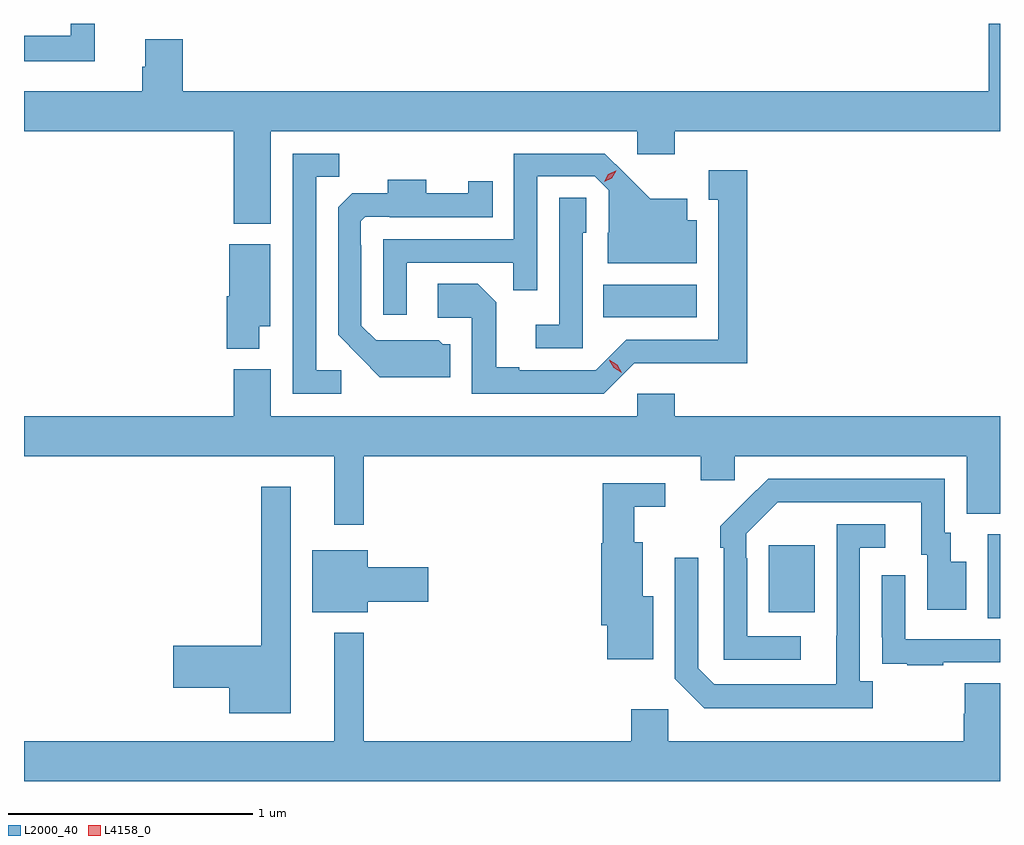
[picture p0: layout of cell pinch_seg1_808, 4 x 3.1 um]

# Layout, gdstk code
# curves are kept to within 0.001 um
import gdstk
lib = gdstk.Library(unit=1e-6, precision=1e-09)
def R(c, l, rs):  # rectangles x0, y0, x1, y1
    for r in rs: c.add(gdstk.rectangle(r[:2], r[2:], *l))
def P(c, l, *ps):  # polygons
    for p in ps: c.add(gdstk.Polygon(p, *l))
L2000_40 = (2000, 40)
L4158_0 = (4158, 0)

pinch_seg1_808 = lib.new_cell('pinch_seg1_808')
R(pinch_seg1_808, L2000_40, [(464.174,563.056,464.224,563.4), (463.277,563.081,463.465,563.356), (462.598,564.29,462.982,564.424)])
P(pinch_seg1_808, L2000_40, [(460.514,565.493),(460.416,565.493),(460.416,565.444),(460.224,565.444),(460.224,565.34),(460.514,565.34)],
  [(461.236,565.052),(462.738,565.052),(462.738,564.957),(462.89,564.957),(462.89,565.052),(464.224,565.052),(464.224,565.493),(464.177,565.493),(464.177,565.216),(460.874,565.216),(460.874,565.429),(460.721,565.429),(460.721,565.317),(460.709,565.317),(460.709,565.216),(460.224,565.216),(460.224,565.052),(461.084,565.052),(461.084,564.674),(461.236,564.674)],
  [(461.524,564.072),(461.421,564.072),(461.421,564.865),(461.517,564.865),(461.517,564.96),(461.325,564.96),(461.325,563.976),(461.524,563.976)],
  [(461.793,564.513),(462.229,564.513),(462.229,564.4),(462.327,564.4),(462.327,564.867),(462.564,564.867),(462.621,564.81),(462.621,564.636),(462.617,564.636),(462.617,564.512),(462.982,564.512),(462.982,564.688),(462.943,564.688),(462.943,564.775),(462.791,564.775),(462.604,564.96),(462.231,564.96),(462.231,564.609),(461.697,564.609),(461.697,564.3),(461.793,564.3)],
  [(462.726,564.102),(463.189,564.101),(463.189,564.892),(463.031,564.892),(463.031,564.771),(463.07,564.771),(463.07,564.198),(462.693,564.198),(462.567,564.072),(462.253,564.072),(462.253,564.085),(462.159,564.085),(462.159,564.352),(462.083,564.428),(461.919,564.428),(461.919,564.288),(462.06,564.288),(462.06,563.976),(462.6,563.976)],
  [(461.971,564.18),(461.94,564.18),(461.924,564.196),(461.667,564.195),(461.607,564.255),(461.607,564.584),(461.604,564.584),(461.604,564.684),(461.622,564.702),(461.722,564.702),(461.722,564.699),(462.146,564.699),(462.146,564.847),(462.045,564.847),(462.045,564.798),(461.872,564.798),(461.872,564.853),(461.714,564.853),(461.714,564.799),(461.57,564.799),(461.511,564.74),(461.511,564.218),(461.683,564.044),(461.971,564.044)],
  [(462.513,564.636),(462.528,564.636),(462.528,564.779),(462.417,564.779),(462.417,564.259),(462.321,564.259),(462.321,564.162),(462.513,564.162)],
  [(461.188,564.254),(461.233,564.254),(461.233,564.589),(461.066,564.589),(461.066,564.375),(461.054,564.375),(461.054,564.161),(461.188,564.161)],
  [(461.617,563.72),(462.998,563.72),(462.998,563.622),(463.137,563.622),(463.137,563.72),(464.087,563.72),(464.087,563.485),(464.224,563.485),(464.224,563.884),(462.89,563.884),(462.89,563.977),(462.738,563.977),(462.738,563.884),(461.236,563.884),(461.236,564.076),(461.084,564.076),(461.084,563.884),(460.224,563.884),(460.224,563.72),(461.495,563.72),(461.495,563.439),(461.617,563.439)],
  [(463.408,562.983),(463.188,562.983),(463.188,563.303),(463.185,563.303),(463.185,563.403),(463.314,563.532),(463.901,563.532),(463.901,563.316),(463.925,563.316),(463.925,563.091),(464.086,563.091),(464.086,563.287),(464.023,563.287),(464.023,563.406),(463.998,563.406),(463.998,563.628),(463.274,563.628),(463.077,563.433),(463.077,563.345),(463.092,563.345),(463.092,562.887),(463.408,562.887)],
  [(462.802,563.146),(462.76,563.146),(462.76,563.368),(462.724,563.368),(462.724,563.513),(462.853,563.513),(462.853,563.61),(462.595,563.61),(462.595,563.364),(462.59,563.364),(462.59,563.028),(462.614,563.028),(462.614,562.889),(462.802,562.889)],
  [(461.317,563.596),(461.196,563.596),(461.196,562.943),(460.836,562.943),(460.836,562.772),(461.066,562.772),(461.066,562.667),(461.317,562.667)],
  [(463.702,562.798),(463.65,562.798),(463.65,563.346),(463.753,563.346),(463.753,563.442),(463.554,563.442),(463.553,562.785),(463.053,562.785),(462.987,562.851),(462.987,563.305),(462.891,563.305),(462.891,562.809),(463.012,562.688),(463.702,562.688)],
  [(461.632,563.123),(461.881,563.123),(461.881,563.265),(461.632,563.265),(461.632,563.335),(461.405,563.335),(461.405,563.081),(461.632,563.081)],
  [(463.991,562.875),(464.224,562.875),(464.224,562.971),(463.836,562.971),(463.836,563.233),(463.74,563.233),(463.74,562.978),(463.741,562.978),(463.741,562.869),(463.843,562.869),(463.843,562.863),(463.991,562.863)],
  [(464.224,562.79),(464.08,562.79),(464.08,562.665),(464.075,562.665),(464.075,562.552),(462.864,562.552),(462.864,562.684),(462.713,562.684),(462.713,562.552),(461.617,562.552),(461.617,562.996),(461.495,562.996),(461.495,562.552),(460.224,562.552),(460.224,562.388),(464.224,562.388)])
P(pinch_seg1_808, L4158_0, [(462.673,564.063),(462.641,564.082),(462.623,564.114),(462.623,564.115),(462.623,564.115),(462.655,564.096),(462.673,564.063),(462.673,564.063)],
  [(462.602,564.845),(462.602,564.846),(462.619,564.875),(462.65,564.89),(462.651,564.89),(462.651,564.89),(462.633,564.86),(462.602,564.845)])

lib.write_gds('pinch_seg1_808.gds')
